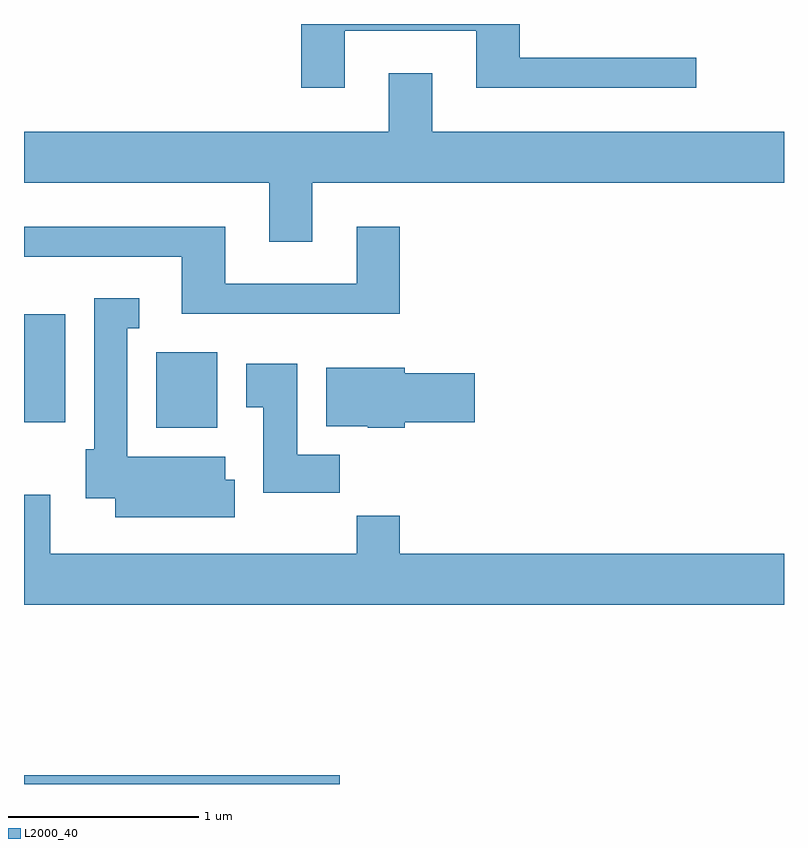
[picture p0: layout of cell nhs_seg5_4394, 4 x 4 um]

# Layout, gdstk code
import gdstk
lib = gdstk.Library(unit=1e-6, precision=1e-09)
def R(c, l, rs):  # rectangles x0, y0, x1, y1
    for r in rs: c.add(gdstk.rectangle(r[:2], r[2:], *l))
def P(c, l, *ps):  # polygons
    for p in ps: c.add(gdstk.Polygon(p, *l))
L2000_40 = (2000, 40)

nhs_seg5_4394 = lib.new_cell('nhs_seg5_4394')
R(nhs_seg5_4394, L2000_40, [(315.611,1458.072,317.274,1458.119), (316.306,1459.946,316.629,1460.344), (315.611,1459.976,315.829,1460.544)])
P(nhs_seg5_4394, L2000_40, [(317.299,1462.036),(317.991,1462.036),(317.991,1461.736),(319.148,1461.736),(319.148,1461.894),(318.219,1461.894),(318.219,1462.072),(317.071,1462.072),(317.071,1461.736),(317.299,1461.736)],
  [(317.129,1461.236),(319.611,1461.236),(319.611,1461.504),(317.759,1461.504),(317.759,1461.814),(317.531,1461.814),(317.531,1461.504),(315.611,1461.504),(315.611,1461.236),(316.901,1461.236),(316.901,1460.926),(317.129,1460.926)],
  [(317.589,1461.004),(317.361,1461.004),(317.361,1460.704),(316.669,1460.704),(316.669,1461.004),(315.611,1461.004),(315.611,1460.846),(316.441,1460.846),(316.441,1460.546),(317.589,1460.546)],
  [(316.719,1459.674),(316.669,1459.674),(316.669,1459.794),(316.154,1459.794),(316.154,1460.471),(316.218,1460.471),(316.218,1460.629),(315.981,1460.629),(315.981,1459.834),(315.936,1459.834),(315.936,1459.576),(316.091,1459.576),(316.091,1459.476),(316.719,1459.476)],
  [(317.274,1459.804),(317.049,1459.804),(317.049,1460.284),(316.781,1460.284),(316.781,1460.056),(316.871,1460.056),(316.871,1459.606),(317.274,1459.606)],
  [(317.614,1459.976),(317.984,1459.976),(317.984,1460.234),(317.614,1460.234),(317.614,1460.264),(317.201,1460.264),(317.201,1459.956),(317.42,1459.956),(317.42,1459.946),(317.614,1459.946)],
  [(319.611,1459.284),(317.589,1459.284),(317.589,1459.484),(317.361,1459.484),(317.361,1459.284),(315.749,1459.284),(315.749,1459.594),(315.611,1459.594),(315.611,1459.016),(319.611,1459.016)])

lib.write_gds('nhs_seg5_4394.gds')
